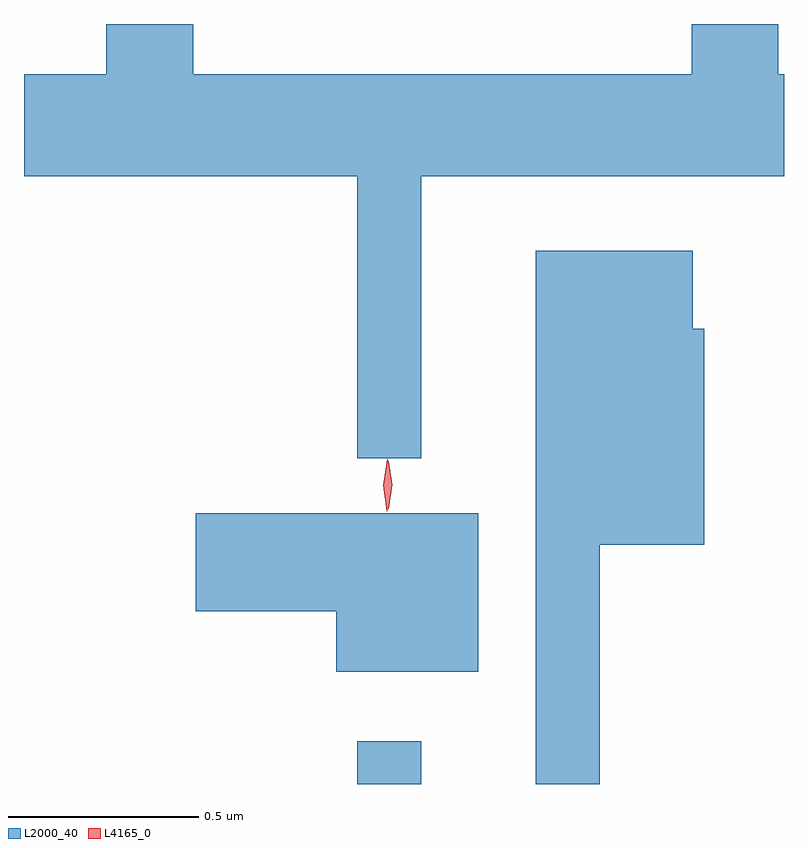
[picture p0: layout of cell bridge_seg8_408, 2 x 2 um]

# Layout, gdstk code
import gdstk
lib = gdstk.Library(unit=1e-6, precision=1e-09)
def R(c, l, rs):  # rectangles x0, y0, x1, y1
    for r in rs: c.add(gdstk.rectangle(r[:2], r[2:], *l))
def P(c, l, *ps):  # polygons
    for p in ps: c.add(gdstk.Polygon(p, *l))
L2000_40 = (2000, 40)
L4165_0 = (4165, 0)

bridge_seg8_408 = lib.new_cell('bridge_seg8_408')
R(bridge_seg8_408, L2000_40, [(711.891,1872.556,712.059,1872.668)])
P(bridge_seg8_408, L2000_40, [(712.059,1874.156),(713.014,1874.156),(713.014,1874.424),(712.999,1874.424),(712.999,1874.556),(712.771,1874.556),(712.771,1874.424),(711.459,1874.424),(711.459,1874.556),(711.231,1874.556),(711.231,1874.424),(711.014,1874.424),(711.014,1874.156),(711.891,1874.156),(711.891,1873.413),(712.059,1873.413)],
  [(712.529,1873.186),(712.804,1873.186),(712.804,1873.754),(712.774,1873.754),(712.774,1873.959),(712.361,1873.959),(712.361,1872.556),(712.529,1872.556)],
  [(712.209,1873.269),(711.466,1873.269),(711.466,1873.011),(711.836,1873.011),(711.836,1872.851),(712.209,1872.851)])
P(bridge_seg8_408, L4165_0, [(711.969,1873.274),(711.969,1873.274),(711.96,1873.342),(711.97,1873.41),(711.971,1873.41),(711.971,1873.41),(711.98,1873.342),(711.97,1873.274)],
  [(711.972,1873.28),(711.963,1873.343),(711.972,1873.406),(711.973,1873.407),(711.974,1873.406),(711.983,1873.343),(711.974,1873.28),(711.973,1873.28)])

lib.write_gds('bridge_seg8_408.gds')
